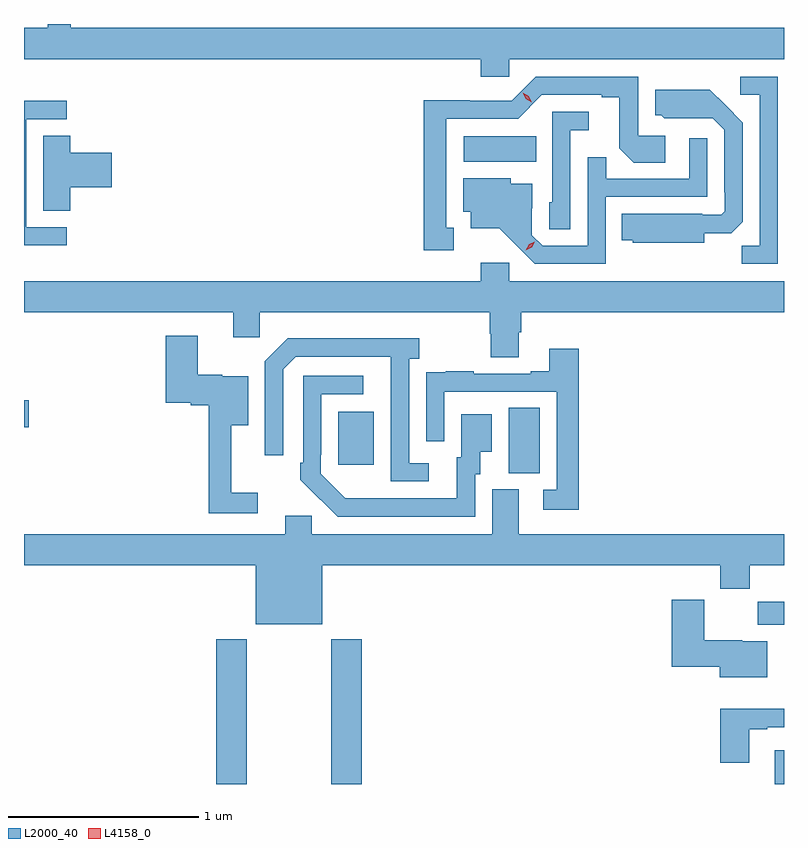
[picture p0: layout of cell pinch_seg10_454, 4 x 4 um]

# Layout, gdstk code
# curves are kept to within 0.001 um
import gdstk
lib = gdstk.Library(unit=1e-6, precision=1e-09)
def R(c, l, rs):  # rectangles x0, y0, x1, y1
    for r in rs: c.add(gdstk.rectangle(r[:2], r[2:], *l))
def P(c, l, *ps):  # polygons
    for p in ps: c.add(gdstk.Polygon(p, *l))
L2000_40 = (2000, 40)
L4158_0 = (4158, 0)

pinch_seg10_454 = lib.new_cell('pinch_seg10_454')
R(pinch_seg10_454, L2000_40, [(292.361,1287.177,292.521,1287.94), (292.966,1287.177,293.126,1287.94), (295.301,1287.177,295.349,1287.355), (295.21,1288.016,295.349,1288.135), (293.9,1288.813,294.064,1289.156), (293.003,1288.857,293.191,1289.137), (291.349,1289.054,291.373,1289.196), (293.664,1290.452,294.044,1290.586)])
P(pinch_seg10_454, L2000_40, [(293.904,1290.992),(295.349,1290.992),(295.349,1291.156),(291.595,1291.156),(291.595,1291.177),(291.474,1291.177),(291.474,1291.156),(291.349,1291.156),(291.349,1290.992),(293.753,1290.992),(293.753,1290.899),(293.904,1290.899)],
  [(295.317,1290.9),(295.119,1290.9),(295.119,1290.804),(295.221,1290.804),(295.221,1290.011),(295.126,1290.011),(295.126,1289.916),(295.317,1289.916)],
  [(293.611,1290.105),(293.572,1290.105),(293.572,1290.678),(293.949,1290.678),(294.075,1290.804),(294.389,1290.804),(294.389,1290.792),(294.483,1290.792),(294.483,1290.524),(294.559,1290.448),(294.724,1290.448),(294.724,1290.588),(294.582,1290.588),(294.582,1290.9),(294.042,1290.9),(293.916,1290.774),(293.694,1290.774),(293.694,1290.776),(293.454,1290.776),(293.454,1289.985),(293.611,1289.985)],
  [(294.928,1290.077),(295.072,1290.077),(295.131,1290.136),(295.131,1290.658),(294.959,1290.832),(294.671,1290.832),(294.671,1290.696),(294.702,1290.696),(294.718,1290.68),(294.975,1290.681),(295.035,1290.621),(295.035,1290.292),(295.038,1290.292),(295.038,1290.192),(295.02,1290.174),(294.92,1290.174),(294.92,1290.178),(294.496,1290.178),(294.496,1290.038),(294.552,1290.038),(294.552,1290.026),(294.928,1290.026)],
  [(291.574,1290.108),(291.36,1290.108),(291.36,1290.675),(291.574,1290.675),(291.574,1290.774),(291.349,1290.774),(291.349,1290.012),(291.574,1290.012)],
  [(294.225,1290.617),(294.322,1290.617),(294.322,1290.714),(294.129,1290.714),(294.129,1290.24),(294.114,1290.24),(294.114,1290.097),(294.225,1290.097)],
  [(291.593,1290.317),(291.811,1290.317),(291.811,1290.5),(291.593,1290.5),(291.593,1290.59),(291.449,1290.59),(291.449,1290.193),(291.593,1290.193)],
  [(294.411,1290.267),(294.945,1290.267),(294.945,1290.577),(294.849,1290.577),(294.849,1290.363),(294.413,1290.363),(294.413,1290.476),(294.315,1290.476),(294.315,1290.009),(294.078,1290.009),(294.021,1290.066),(294.021,1290.208),(294.025,1290.208),(294.025,1290.337),(293.91,1290.337),(293.91,1290.364),(293.66,1290.364),(293.66,1290.188),(293.699,1290.188),(293.699,1290.101),(293.851,1290.101),(294.038,1289.916),(294.411,1289.916)],
  [(293.953,1289.554),(293.966,1289.554),(293.966,1289.66),(295.349,1289.66),(295.349,1289.824),(293.904,1289.824),(293.904,1289.92),(293.753,1289.92),(293.753,1289.824),(291.349,1289.824),(291.349,1289.66),(292.451,1289.66),(292.451,1289.529),(292.59,1289.529),(292.59,1289.66),(293.801,1289.66),(293.801,1289.547),(293.806,1289.547),(293.806,1289.422),(293.953,1289.422)],
  [(292.579,1288.711),(292.439,1288.711),(292.439,1289.066),(292.528,1289.066),(292.528,1289.323),(292.392,1289.323),(292.392,1289.331),(292.264,1289.331),(292.264,1289.536),(292.094,1289.536),(292.094,1289.183),(292.227,1289.183),(292.227,1289.171),(292.321,1289.171),(292.321,1288.602),(292.579,1288.602)],
  [(293.479,1288.866),(293.376,1288.866),(293.376,1289.414),(293.428,1289.414),(293.428,1289.524),(292.738,1289.524),(292.617,1289.403),(292.617,1288.908),(292.713,1288.908),(292.713,1289.361),(292.779,1289.427),(293.28,1289.427),(293.28,1288.77),(293.479,1288.77)],
  [(294.269,1289.467),(294.113,1289.467),(294.113,1289.35),(294.017,1289.35),(294.017,1289.337),(293.717,1289.337),(293.717,1289.35),(293.569,1289.35),(293.569,1289.343),(293.467,1289.343),(293.467,1289.234),(293.466,1289.234),(293.466,1288.98),(293.562,1288.98),(293.562,1289.241),(294.153,1289.241),(294.153,1288.725),(294.081,1288.725),(294.081,1288.62),(294.269,1288.62)],
  [(293.724,1288.806),(293.749,1288.806),(293.749,1288.925),(293.812,1288.925),(293.812,1289.122),(293.651,1289.122),(293.651,1288.896),(293.627,1288.896),(293.627,1288.68),(293.04,1288.681),(292.911,1288.809),(292.911,1288.909),(292.914,1288.909),(292.914,1289.229),(293.134,1289.229),(293.134,1289.325),(292.818,1289.325),(292.818,1288.867),(292.803,1288.867),(292.803,1288.779),(293,1288.584),(293.724,1288.584)],
  [(292.918,1288.328),(295.013,1288.328),(295.013,1288.204),(295.169,1288.204),(295.169,1288.328),(295.349,1288.328),(295.349,1288.492),(293.953,1288.492),(293.953,1288.728),(293.813,1288.728),(293.813,1288.492),(292.863,1288.492),(292.863,1288.59),(292.724,1288.59),(292.724,1288.492),(291.349,1288.492),(291.349,1288.328),(292.568,1288.328),(292.568,1288.019),(292.918,1288.019)],
  [(295.261,1287.928),(295.128,1287.928),(295.128,1287.934),(294.928,1287.934),(294.928,1288.147),(294.758,1288.147),(294.758,1287.794),(295.01,1287.794),(295.01,1287.74),(295.261,1287.74)],
  [(295.165,1287.465),(295.261,1287.465),(295.261,1287.477),(295.349,1287.477),(295.349,1287.574),(295.013,1287.574),(295.013,1287.288),(295.165,1287.288)])
P(pinch_seg10_454, L4158_0, [(293.99,1289.987),(293.99,1289.987),(294.007,1290.017),(294.038,1290.032),(294.038,1290.032),(294.038,1290.032),(294.021,1290.002),(293.99,1289.987)],
  [(294.022,1290.764),(293.99,1290.783),(293.973,1290.816),(293.973,1290.816),(293.973,1290.816),(294.005,1290.797),(294.022,1290.765),(294.022,1290.764)])

lib.write_gds('pinch_seg10_454.gds')
